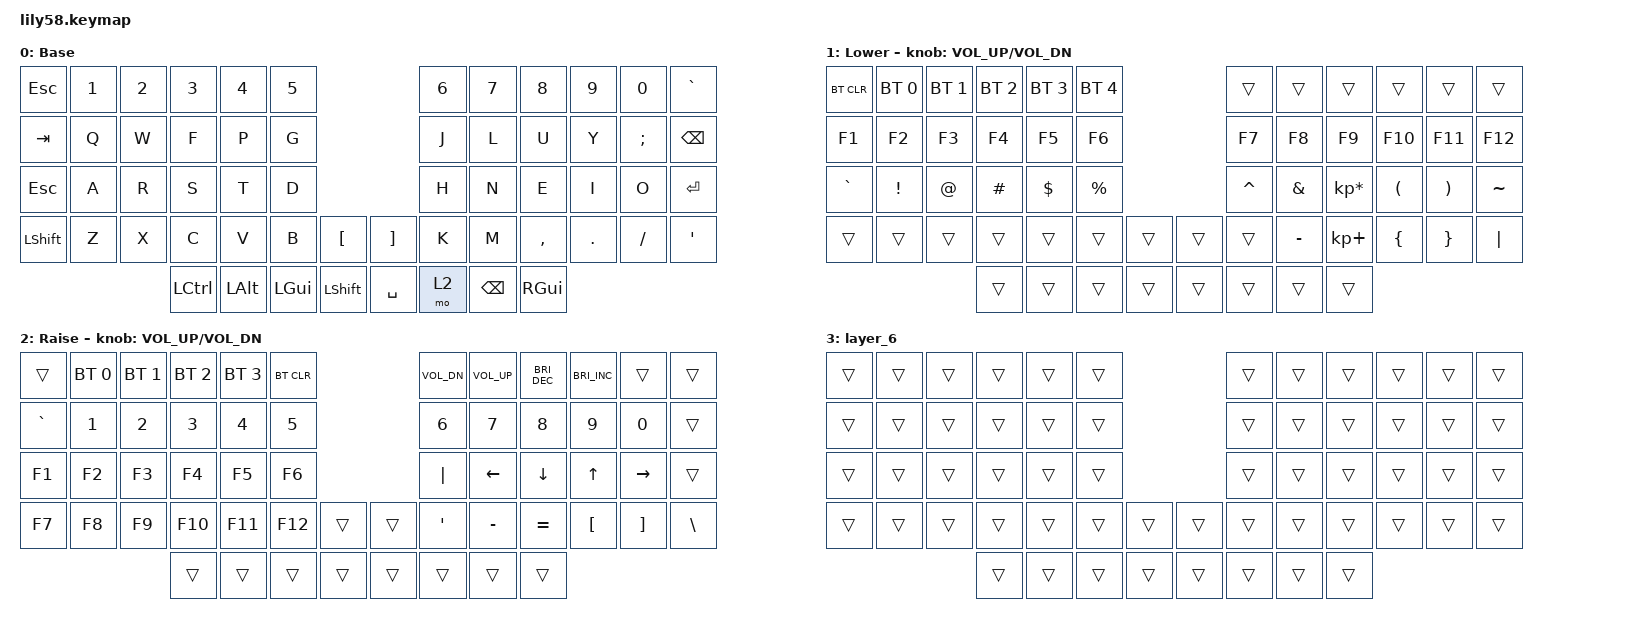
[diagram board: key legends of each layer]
/*
 * Copyright (c) 2020 The ZMK Contributors
 *
 * SPDX-License-Identifier: MIT
 */

#include <behaviors.dtsi>
#include <dt-bindings/zmk/bt.h>
#include <dt-bindings/zmk/keys.h>

/ {
    keymap {
        compatible = "zmk,keymap";

        default_layer {
            // ------------------------------------------------------------------------------------------------------------
            // |  ESC  |  1  |  2  |  3   |  4   |  5   |                   |  6   |  7    |  8    |  9   |   0   |   `   |
            // |  TAB  |  Q  |  W  |  E   |  R   |  T   |                   |  Y   |  U    |  I    |  O   |   P   |   -   |
            // |  CTRL |  A  |  S  |  D   |  F   |  G   |                   |  H   |  J    |  K    |  L   |   ;   |   '   |
            // | SHIFT |  Z  |  X  |  C   |  V   |  B   |   "["  |  |  "]"  |  N   |  M    |  ,    |  .   |   /   | SHIFT |
            //                     | ALT  | GUI  | LOWER|  SPACE |  | ENTER | RAISE| BSPC  | GUI   |

            display-name = "Base";
            bindings = <
&kp ESC     &kp N1  &kp N2  &kp N3            &kp N4        &kp N5                                     &kp N6  &kp N7    &kp N8     &kp N9   &kp N0         &kp GRAVE
&kp TAB     &kp Q   &kp W   &kp F             &kp P         &kp G                                      &kp J   &kp L     &kp U      &kp Y    &kp SEMICOLON  &kp BACKSPACE
&kp ESCAPE  &kp A   &kp R   &kp S             &kp T         &kp D                                      &kp H   &kp N     &kp E      &kp I    &kp O          &kp ENTER
&kp LSHFT   &kp Z   &kp X   &kp C             &kp V         &kp B         &kp LBKT          &kp RBKT   &kp K   &kp M     &kp COMMA  &kp DOT  &kp FSLH       &kp SINGLE_QUOTE
                            &kp LEFT_CONTROL  &kp LEFT_ALT  &kp LEFT_GUI  &kp LEFT_SHIFT    &kp SPACE  &mo 2   &kp BSPC  &kp RGUI
            >;
        };

        lower_layer {
            // ------------------------------------------------------------------------------------------------------------
            // | BTCLR | BT1 | BT2 |  BT3 |  BT4 |  BT5 |                   |      |       |       |      |       |       |
            // |  F1   |  F2 |  F3 |  F4  |  F5  |  F6  |                   |  F7  |  F8   |  F9   |  F10 |  F11  |  F12  |
            // |   `   |  !  |  @  |  #   |  $   |  %   |                   |  ^   |  &    |  *    |  (   |   )   |   ~   |
            // |       |     |     |      |      |      |        |  |       |      |  _    |  +    |  {   |   }   |  "|"  |
            //                     |      |      |      |        |  |       |      |       |       |

            display-name = "Lower";
            bindings = <
&bt BT_CLR  &bt BT_SEL 0  &bt BT_SEL 1  &bt BT_SEL 2  &bt BT_SEL 3  &bt BT_SEL 4                    &trans     &trans     &trans           &trans    &trans    &trans
&kp F1      &kp F2        &kp F3        &kp F4        &kp F5        &kp F6                          &kp F7     &kp F8     &kp F9           &kp F10   &kp F11   &kp F12
&kp GRAVE   &kp EXCL      &kp AT        &kp HASH      &kp DOLLAR    &kp PRCNT                       &kp CARET  &kp AMPS   &kp KP_MULTIPLY  &kp LPAR  &kp RPAR  &kp TILDE
&trans      &trans        &trans        &trans        &trans        &trans        &trans    &trans  &trans     &kp MINUS  &kp KP_PLUS      &kp LBRC  &kp RBRC  &kp PIPE
                                        &trans        &trans        &trans        &trans    &trans  &trans     &trans     &trans
            >;

            sensor-bindings = <&inc_dec_kp C_VOL_UP C_VOL_DN>;
        };

        raise_layer {
            // ------------------------------------------------------------------------------------------------------------
            // |       |     |     |      |      |      |                   |      |       |       |      |       |       |
            // |   `   |  1  |  2  |  3   |  4   |  5   |                   |  6   |   7   |   8   |  9   |   0   |       |
            // |   F1  |  F2 |  F3 |  F4  |  F5  |  F6  |                   |      |   <-  |   v   |  ^   |  ->   |       |
            // |   F7  |  F8 |  F9 |  F10 |  F11 |  F12 |        |  |       |  +   |   -   |   =   |  [   |   ]   |   \   |
            //                     |      |      |      |        |  |       |      |       |       |

            display-name = "Raise";
            bindings = <
&trans     &bt BT_SEL 0  &bt BT_SEL 1  &bt BT_SEL 2  &bt BT_SEL 3  &bt BT_CLR                    &kp C_VOL_DN  &kp C_VOL_UP  &kp C_BRIGHTNESS_DEC  &kp C_BRIGHTNESS_INC  &trans     &trans
&kp GRAVE  &kp N1        &kp N2        &kp N3        &kp N4        &kp N5                        &kp N6        &kp N7        &kp N8                &kp N9                &kp N0     &trans
&kp F1     &kp F2        &kp F3        &kp F4        &kp F5        &kp F6                        &kp PIPE      &kp LEFT      &kp DOWN              &kp UP                &kp RIGHT  &trans
&kp F7     &kp F8        &kp F9        &kp F10       &kp F11       &kp F12     &trans    &trans  &kp SQT       &kp MINUS     &kp EQUAL             &kp LBKT              &kp RBKT   &kp BSLH
                                       &trans        &trans        &trans      &trans    &trans  &trans        &trans        &trans
            >;

            sensor-bindings = <&inc_dec_kp C_VOL_UP C_VOL_DN>;
        };

        extra_1 { status = "reserved"; };

        extra_2 { status = "reserved"; };

        extra_3 { status = "reserved"; };

        layer_6 {
            bindings = <
&trans  &trans  &trans  &trans  &trans  &trans                    &trans  &trans  &trans  &trans  &trans  &trans
&trans  &trans  &trans  &trans  &trans  &trans                    &trans  &trans  &trans  &trans  &trans  &trans
&trans  &trans  &trans  &trans  &trans  &trans                    &trans  &trans  &trans  &trans  &trans  &trans
&trans  &trans  &trans  &trans  &trans  &trans  &trans    &trans  &trans  &trans  &trans  &trans  &trans  &trans
                        &trans  &trans  &trans  &trans    &trans  &trans  &trans  &trans
            >;
        };
    };
};
